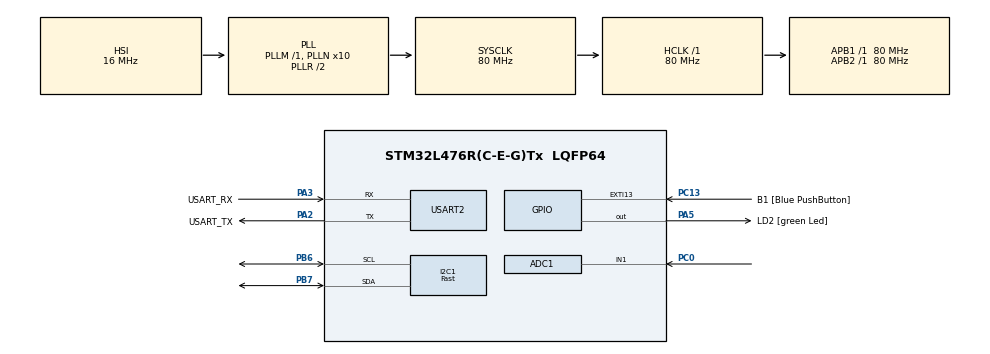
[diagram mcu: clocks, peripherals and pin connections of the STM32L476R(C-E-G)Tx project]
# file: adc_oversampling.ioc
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ADC1.Channel-0\#ChannelRegularConversion=ADC_CHANNEL_1
ADC1.ContinuousConvMode=DISABLE
ADC1.NbrOfConversion=1
ADC1.NbrOfConversionFlag=1
ADC1.OffsetNumber-0\#ChannelRegularConversion=ADC_OFFSET_NONE
ADC1.OversamplingMode=ENABLE
ADC1.Rank-0\#ChannelRegularConversion=1
ADC1.Ratio=ADC_OVERSAMPLING_RATIO_256
ADC1.RightBitShift=ADC_RIGHTBITSHIFT_4
ADC1.SamplingTime-0\#ChannelRegularConversion=ADC_SAMPLETIME_2CYCLES_5
ADC1.master=1
I2C1.I2C_Speed_Mode=I2C_Fast
I2C1.Timing=0x00702991
Mcu.Family=STM32L4
Mcu.Name=STM32L476R(C-E-G)Tx
Mcu.Package=LQFP64
NVIC.PriorityGroup=NVIC_PRIORITYGROUP_4
PA13\ (JTMS-SWDIO).GPIO_Label=TMS
PA13\ (JTMS-SWDIO).Mode=Serial_Wire
PA13\ (JTMS-SWDIO).Signal=SYS_JTMS-SWDIO
PA14\ (JTCK-SWCLK).GPIO_Label=TCK
PA14\ (JTCK-SWCLK).Mode=Serial_Wire
PA14\ (JTCK-SWCLK).Signal=SYS_JTCK-SWCLK
PA2.GPIO_Label=USART_TX
PA2.GPIO_Mode=GPIO_MODE_AF_PP
PA2.GPIO_PuPd=GPIO_NOPULL
PA2.GPIO_Speed=GPIO_SPEED_FREQ_VERY_HIGH
PA2.Mode=Asynchronous
PA2.Signal=USART2_TX
PA3.GPIO_Label=USART_RX
PA3.GPIO_Mode=GPIO_MODE_AF_PP
PA3.GPIO_PuPd=GPIO_NOPULL
PA3.GPIO_Speed=GPIO_SPEED_FREQ_VERY_HIGH
PA3.Mode=Asynchronous
PA3.Signal=USART2_RX
PA5.GPIO_Label=LD2 [green Led]
PA5.GPIO_ModeDefaultOutputPP=GPIO_MODE_OUTPUT_PP
PA5.GPIO_PuPd=GPIO_NOPULL
PA5.GPIO_Speed=GPIO_SPEED_FREQ_LOW
PA5.Signal=GPIO_Output
PB3\ (JTDO-TRACESWO).GPIO_Label=SWO
PB3\ (JTDO-TRACESWO).Signal=SYS_JTDO-SWO
PB6.Mode=I2C
PB6.Signal=I2C1_SCL
PB7.Mode=I2C
PB7.Signal=I2C1_SDA
PC0.Signal=ADCx_IN1
PC13.GPIO_Label=B1 [Blue PushButton]
PC13.GPIO_ModeDefaultEXTI=GPIO_MODE_IT_FALLING
PC13.GPIO_PuPd=GPIO_NOPULL
PC13.Signal=GPXTI13
PC14-OSC32_IN\ (PC14).Mode=LSE-External-Oscillator
PC14-OSC32_IN\ (PC14).Signal=RCC_OSC32_IN
PC15-OSC32_OUT\ (PC15).Mode=LSE-External-Oscillator
PC15-OSC32_OUT\ (PC15).Signal=RCC_OSC32_OUT
PH0-OSC_IN\ (PH0).Signal=RCC_OSC_IN
PH1-OSC_OUT\ (PH1).Signal=RCC_OSC_OUT
ProjectManager.HeapSize=0x200
ProjectManager.StackSize=0x400
ProjectManager.TargetToolchain=STM32CubeIDE
RCC.ADCFreq_Value=64000000
RCC.AHBFreq_Value=80000000
RCC.APB1Freq_Value=80000000
RCC.APB1TimFreq_Value=80000000
RCC.APB2Freq_Value=80000000
RCC.APB2TimFreq_Value=80000000
RCC.CortexFreq_Value=80000000
RCC.HCLKFreq_Value=80000000
RCC.HSE_VALUE=8000000
RCC.HSI_VALUE=16000000
RCC.MSI_VALUE=4000000
RCC.PLLN=10
RCC.PLLSourceVirtual=RCC_PLLSOURCE_HSI
RCC.PREFETCH_ENABLE=1
RCC.SYSCLKFreq_VALUE=80000000
RCC.SYSCLKSource=RCC_SYSCLKSOURCE_PLLCLK
RCC.USBFreq_Value=64000000
RCC.VCOOutputFreq_Value=160000000
SH.ADCx_IN1.0=ADC1_IN1,IN1-Single-Ended
USART2.VirtualMode-Asynchronous=VM_ASYNC
board=NUCLEO-L476RG

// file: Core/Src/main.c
/* USER CODE BEGIN Header */
/**
  ******************************************************************************
  * @file           : main.c
  * @brief          : Main program body
  ******************************************************************************
  * @attention
  *
  * <h2><center>&copy; Copyright (c) 2019 STMicroelectronics.
  * All rights reserved.</center></h2>
  *
  * This software component is licensed by ST under BSD 3-Clause license,
  * the "License"; You may not use this file except in compliance with the
  * License. You may obtain a copy of the License at:
  *                        opensource.org/licenses/BSD-3-Clause
  *
  ******************************************************************************
  */
/* USER CODE END Header */

#include "main.h"
#include "ssd1306.h"
#include "fonts.h"
#include "test.h"
#include "bitmap.h"
#include "horse_anim.h"
#include "string.h"
#include "stdio.h"

ADC_HandleTypeDef hadc1;

I2C_HandleTypeDef hi2c1;

UART_HandleTypeDef huart2;

void SystemClock_Config(void);
static void MX_GPIO_Init(void);
static void MX_USART2_UART_Init(void);
static void MX_ADC1_Init(void);
static void MX_I2C1_Init(void);

/* USER CODE BEGIN 0 */
uint32_t value_adc = 0; // adc_value
uint32_t volts = 0;
//float volts = 0;
char msg[10];
/* USER CODE END 0 */

int main(void)
{

  /* MCU Configuration--------------------------------------------------------*/

  /* Reset of all peripherals, Initializes the Flash interface and the Systick. */
  HAL_Init();

  /* Configure the system clock */
  SystemClock_Config();

  /* Initialize all configured peripherals */
  MX_GPIO_Init();
  MX_USART2_UART_Init();
  MX_ADC1_Init();
  MX_I2C1_Init();
  /* USER CODE BEGIN 2 */
  SSD1306_Init (); // initialize the diaply
  SSD1306_GotoXY (0,0); // goto 10, 10
  SSD1306_Puts ("LE HUU HAI", &Font_11x18, 1); // print Hello
  SSD1306_UpdateScreen(); // update screen
  HAL_Delay(3000);
  SSD1306_GotoXY (0,20);
  SSD1306_Puts ("Di:  ", &Font_11x18, 1);
  SSD1306_GotoXY (0,42);
  SSD1306_Puts ("V:  ", &Font_11x18, 1);
  SSD1306_UpdateScreen(); // update screen
  // Get ADC value
  HAL_ADC_Start(&hadc1);
  HAL_ADC_PollForConversion(&hadc1, HAL_MAX_DELAY);
  value_adc = HAL_ADC_GetValue(&hadc1);

  /* USER CODE END 2 */

  /* Infinite loop */
  while (1)
  {
	  // Get ADC value
	  	  HAL_ADC_Start(&hadc1);
	  	  HAL_ADC_PollForConversion(&hadc1, HAL_MAX_DELAY);
	  	  value_adc = HAL_ADC_GetValue(&hadc1);

	  	  SSD1306_GotoXY (40,20); // goto 10, 10
	  	  SSD1306_Putc ((char)(value_adc/10000+48), &Font_11x18, 1);
	  	  SSD1306_Putc ((char)((value_adc%10000)/1000+48), &Font_11x18, 1);
	  	  SSD1306_Putc ((char)(((value_adc%10000)%1000)/100+48), &Font_11x18, 1);
	  	  SSD1306_Putc ((char)((((value_adc%10000)%1000)%100/10)/10+48), &Font_11x18, 1);
	  	  SSD1306_Putc ((char)(value_adc%10+48), &Font_11x18, 1);

	  	  volts = value_adc*3300/65535;
	  	  SSD1306_GotoXY (40,42); // goto 10, 10
	  	  SSD1306_Putc ((char)((int)(volts)/1000+48), &Font_11x18, 1);
	  	  SSD1306_Puts (".", &Font_11x18, 1);
	  	  SSD1306_Putc ((char)(((int)(volts)%1000)/100+48), &Font_11x18, 1);
	  	  SSD1306_Putc ((char)((((int)(volts)%1000)%100)/10+48), &Font_11x18, 1);
	  	  SSD1306_Putc ((char)((int)(volts)%10+48), &Font_11x18, 1);
	  	  SSD1306_UpdateScreen(); // update screen

	  	  // Convert to string and print
	  	  /*sprintf(msg,"%lu\r\n",value_adc);
	  	  HAL_UART_Transmit(&huart2, (uint8_t*)msg, strlen(msg), HAL_MAX_DELAY);
	  	  sprintf(msg,"%lu\r\n",volts);
	  	  HAL_UART_Transmit(&huart2, (uint8_t*)msg, strlen(msg), HAL_MAX_DELAY);*/
	  	  HAL_Delay(10);
	      /* USER CODE BEGIN 3 */
    /* USER CODE BEGIN 3 */
  }
  /* USER CODE END 3 */
}

void SystemClock_Config(void)
{
  RCC_OscInitTypeDef RCC_OscInitStruct = {0};
  RCC_ClkInitTypeDef RCC_ClkInitStruct = {0};
  RCC_PeriphCLKInitTypeDef PeriphClkInit = {0};

  /** Initializes the CPU, AHB and APB busses clocks
  */
  RCC_OscInitStruct.OscillatorType = RCC_OSCILLATORTYPE_HSI;
  RCC_OscInitStruct.HSIState = RCC_HSI_ON;
  RCC_OscInitStruct.HSICalibrationValue = RCC_HSICALIBRATION_DEFAULT;
  RCC_OscInitStruct.PLL.PLLState = RCC_PLL_ON;
  RCC_OscInitStruct.PLL.PLLSource = RCC_PLLSOURCE_HSI;
  RCC_OscInitStruct.PLL.PLLM = 1;
  RCC_OscInitStruct.PLL.PLLN = 10;
  RCC_OscInitStruct.PLL.PLLP = RCC_PLLP_DIV7;
  RCC_OscInitStruct.PLL.PLLQ = RCC_PLLQ_DIV2;
  RCC_OscInitStruct.PLL.PLLR = RCC_PLLR_DIV2;
  if (HAL_RCC_OscConfig(&RCC_OscInitStruct) != HAL_OK)
  {
    Error_Handler();
  }
  /** Initializes the CPU, AHB and APB busses clocks
  */
  RCC_ClkInitStruct.ClockType = RCC_CLOCKTYPE_HCLK|RCC_CLOCKTYPE_SYSCLK
                              |RCC_CLOCKTYPE_PCLK1|RCC_CLOCKTYPE_PCLK2;
  RCC_ClkInitStruct.SYSCLKSource = RCC_SYSCLKSOURCE_PLLCLK;
  RCC_ClkInitStruct.AHBCLKDivider = RCC_SYSCLK_DIV1;
  RCC_ClkInitStruct.APB1CLKDivider = RCC_HCLK_DIV1;
  RCC_ClkInitStruct.APB2CLKDivider = RCC_HCLK_DIV1;

  if (HAL_RCC_ClockConfig(&RCC_ClkInitStruct, FLASH_LATENCY_4) != HAL_OK)
  {
    Error_Handler();
  }
  PeriphClkInit.PeriphClockSelection = RCC_PERIPHCLK_USART2|RCC_PERIPHCLK_I2C1
                              |RCC_PERIPHCLK_ADC;
  PeriphClkInit.Usart2ClockSelection = RCC_USART2CLKSOURCE_PCLK1;
  PeriphClkInit.I2c1ClockSelection = RCC_I2C1CLKSOURCE_PCLK1;
  PeriphClkInit.AdcClockSelection = RCC_ADCCLKSOURCE_PLLSAI1;
  PeriphClkInit.PLLSAI1.PLLSAI1Source = RCC_PLLSOURCE_HSI;
  PeriphClkInit.PLLSAI1.PLLSAI1M = 1;
  PeriphClkInit.PLLSAI1.PLLSAI1N = 8;
  PeriphClkInit.PLLSAI1.PLLSAI1P = RCC_PLLP_DIV7;
  PeriphClkInit.PLLSAI1.PLLSAI1Q = RCC_PLLQ_DIV2;
  PeriphClkInit.PLLSAI1.PLLSAI1R = RCC_PLLR_DIV2;
  PeriphClkInit.PLLSAI1.PLLSAI1ClockOut = RCC_PLLSAI1_ADC1CLK;
  if (HAL_RCCEx_PeriphCLKConfig(&PeriphClkInit) != HAL_OK)
  {
    Error_Handler();
  }
  /** Configure the main internal regulator output voltage
  */
  if (HAL_PWREx_ControlVoltageScaling(PWR_REGULATOR_VOLTAGE_SCALE1) != HAL_OK)
  {
    Error_Handler();
  }
}

static void MX_ADC1_Init(void)
{

  ADC_MultiModeTypeDef multimode = {0};
  ADC_ChannelConfTypeDef sConfig = {0};

  /** Common config
  */
  hadc1.Instance = ADC1;
  hadc1.Init.ClockPrescaler = ADC_CLOCK_ASYNC_DIV1;
  hadc1.Init.Resolution = ADC_RESOLUTION_12B;
  hadc1.Init.DataAlign = ADC_DATAALIGN_RIGHT;
  hadc1.Init.ScanConvMode = ADC_SCAN_DISABLE;
  hadc1.Init.EOCSelection = ADC_EOC_SINGLE_CONV;
  hadc1.Init.LowPowerAutoWait = DISABLE;
  hadc1.Init.ContinuousConvMode = DISABLE;
  hadc1.Init.NbrOfConversion = 1;
  hadc1.Init.DiscontinuousConvMode = DISABLE;
  hadc1.Init.ExternalTrigConv = ADC_SOFTWARE_START;
  hadc1.Init.ExternalTrigConvEdge = ADC_EXTERNALTRIGCONVEDGE_NONE;
  hadc1.Init.DMAContinuousRequests = DISABLE;
  hadc1.Init.Overrun = ADC_OVR_DATA_PRESERVED;
  hadc1.Init.OversamplingMode = ENABLE;
  hadc1.Init.Oversampling.Ratio = ADC_OVERSAMPLING_RATIO_256;
  hadc1.Init.Oversampling.RightBitShift = ADC_RIGHTBITSHIFT_4;
  hadc1.Init.Oversampling.TriggeredMode = ADC_TRIGGEREDMODE_SINGLE_TRIGGER;
  hadc1.Init.Oversampling.OversamplingStopReset = ADC_REGOVERSAMPLING_CONTINUED_MODE;
  if (HAL_ADC_Init(&hadc1) != HAL_OK)
  {
    Error_Handler();
  }
  /** Configure the ADC multi-mode
  */
  multimode.Mode = ADC_MODE_INDEPENDENT;
  if (HAL_ADCEx_MultiModeConfigChannel(&hadc1, &multimode) != HAL_OK)
  {
    Error_Handler();
  }
  /** Configure Regular Channel
  */
  sConfig.Channel = ADC_CHANNEL_1;
  sConfig.Rank = ADC_REGULAR_RANK_1;
  sConfig.SamplingTime = ADC_SAMPLETIME_2CYCLES_5;
  sConfig.SingleDiff = ADC_SINGLE_ENDED;
  sConfig.OffsetNumber = ADC_OFFSET_NONE;
  sConfig.Offset = 0;
  if (HAL_ADC_ConfigChannel(&hadc1, &sConfig) != HAL_OK)
  {
    Error_Handler();
  }

}

static void MX_I2C1_Init(void)
{

  hi2c1.Instance = I2C1;
  hi2c1.Init.Timing = 0x00702991;
  hi2c1.Init.OwnAddress1 = 0;
  hi2c1.Init.AddressingMode = I2C_ADDRESSINGMODE_7BIT;
  hi2c1.Init.DualAddressMode = I2C_DUALADDRESS_DISABLE;
  hi2c1.Init.OwnAddress2 = 0;
  hi2c1.Init.OwnAddress2Masks = I2C_OA2_NOMASK;
  hi2c1.Init.GeneralCallMode = I2C_GENERALCALL_DISABLE;
  hi2c1.Init.NoStretchMode = I2C_NOSTRETCH_DISABLE;
  if (HAL_I2C_Init(&hi2c1) != HAL_OK)
  {
    Error_Handler();
  }
  /** Configure Analogue filter
  */
  if (HAL_I2CEx_ConfigAnalogFilter(&hi2c1, I2C_ANALOGFILTER_ENABLE) != HAL_OK)
  {
    Error_Handler();
  }
  /** Configure Digital filter
  */
  if (HAL_I2CEx_ConfigDigitalFilter(&hi2c1, 0) != HAL_OK)
  {
    Error_Handler();
  }

}

static void MX_USART2_UART_Init(void)
{

  huart2.Instance = USART2;
  huart2.Init.BaudRate = 115200;
  huart2.Init.WordLength = UART_WORDLENGTH_8B;
  huart2.Init.StopBits = UART_STOPBITS_1;
  huart2.Init.Parity = UART_PARITY_NONE;
  huart2.Init.Mode = UART_MODE_TX_RX;
  huart2.Init.HwFlowCtl = UART_HWCONTROL_NONE;
  huart2.Init.OverSampling = UART_OVERSAMPLING_16;
  huart2.Init.OneBitSampling = UART_ONE_BIT_SAMPLE_DISABLE;
  huart2.AdvancedInit.AdvFeatureInit = UART_ADVFEATURE_NO_INIT;
  if (HAL_UART_Init(&huart2) != HAL_OK)
  {
    Error_Handler();
  }

}

static void MX_GPIO_Init(void)
{
  GPIO_InitTypeDef GPIO_InitStruct = {0};

  /* GPIO Ports Clock Enable */
  __HAL_RCC_GPIOC_CLK_ENABLE();
  __HAL_RCC_GPIOH_CLK_ENABLE();
  __HAL_RCC_GPIOA_CLK_ENABLE();
  __HAL_RCC_GPIOB_CLK_ENABLE();

  /*Configure GPIO pin Output Level */
  HAL_GPIO_WritePin(LD2_GPIO_Port, LD2_Pin, GPIO_PIN_RESET);

  /*Configure GPIO pin : B1_Pin */
  GPIO_InitStruct.Pin = B1_Pin;
  GPIO_InitStruct.Mode = GPIO_MODE_IT_FALLING;
  GPIO_InitStruct.Pull = GPIO_NOPULL;
  HAL_GPIO_Init(B1_GPIO_Port, &GPIO_InitStruct);

  /*Configure GPIO pin : LD2_Pin */
  GPIO_InitStruct.Pin = LD2_Pin;
  GPIO_InitStruct.Mode = GPIO_MODE_OUTPUT_PP;
  GPIO_InitStruct.Pull = GPIO_NOPULL;
  GPIO_InitStruct.Speed = GPIO_SPEED_FREQ_LOW;
  HAL_GPIO_Init(LD2_GPIO_Port, &GPIO_InitStruct);

}

void Error_Handler(void)
{
}

/************************ (C) COPYRIGHT STMicroelectronics *****END OF FILE****/
